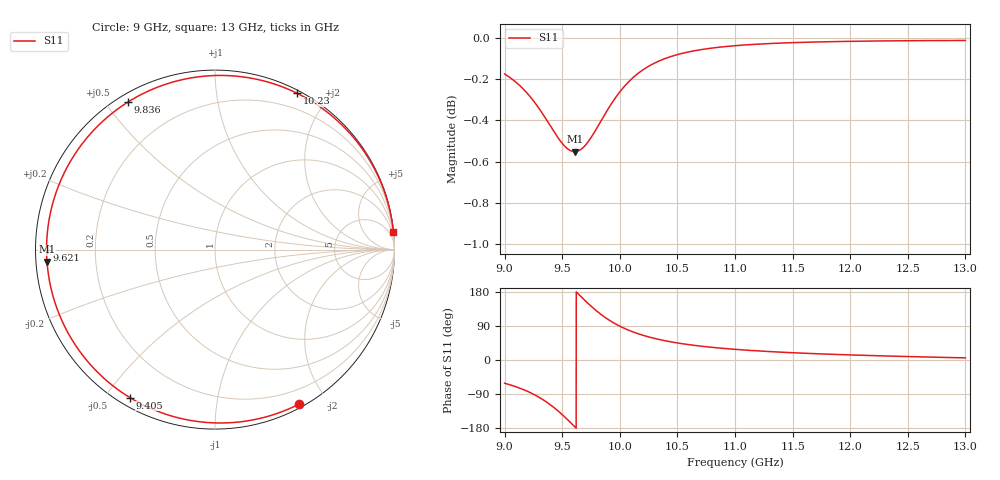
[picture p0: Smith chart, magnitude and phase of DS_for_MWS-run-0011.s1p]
! TOUCHSTONE file generated by CST DESIGN STUDIO
! Date and time: Wed Feb  5 13:33:32 2025
! Project name: C:\Work\MatlabApps\UnitCellOptimizationMatlab\CST\unitcell.cst
! Tree item: Tasks\Sweep1\SPara1\S-Parameters
! Header version: 2024
! Port assignment regex: !\s*Touchstone port\s*([0-9]+)\s*=\s*(CST MWS port|CST DES external port|CST DES block port)\s*(.+)\s* \(\"(.*)\"\)(\s*mode\s*([0-9]+))?.*
! Touchstone port assignment:
! Touchstone port 1 = CST DES external port 1 ("")
# GHz S MA R 50
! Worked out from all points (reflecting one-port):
!   4001 points, 9 GHz to 13 GHz, reference 50 ohm
!   lowest |S11| = -0.6 dB at 9.608 GHz (marker M1), VSWR 31.47, Z = 1.59 - j1.79 ohm
!   phase of S11 starts at -61 deg and turns -293 deg over the sweep
!   S11 on the Smith chart (normalised r, x): 9 GHz: 0.04, -1.69; 9.405 GHz: 0.03, -0.58; 9.621 GHz: 0.03, -0.00; 9.836 GHz: 0.03, +0.57; 10.23 GHz: 0.03, +1.65; 13 GHz: 0, +20
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9  0.9801 -61.3
9.055  0.9778 -66.2
9.127  0.974 -73.7
9.19  0.97 -81.5
9.251  0.9655 -90.4
9.333  0.9582 -104.7
9.405  0.9513 -119.9
9.453  0.9467 -131.6
9.5  0.9428 -144.1
9.557  0.9395 -160.5
9.608  0.9384 -175.9
9.621  0.9385 -179.9
9.666  0.9398 166.5
9.713  0.9427 152.6
9.775  0.9482 135.5
9.836  0.9546 120.4
9.912  0.9625 104.4
10  0.9703 89.3
10.111  0.9779 74.5
10.233  0.9837 62.4
10.357  0.9877 53.1
10.5  0.9908 45.0
10.72  0.9937 36.0
11  0.9957 28.1
11.5  0.9975 19.2
12  0.9982 13.4
12.5  0.9985 9.1
13  0.9987 5.6
